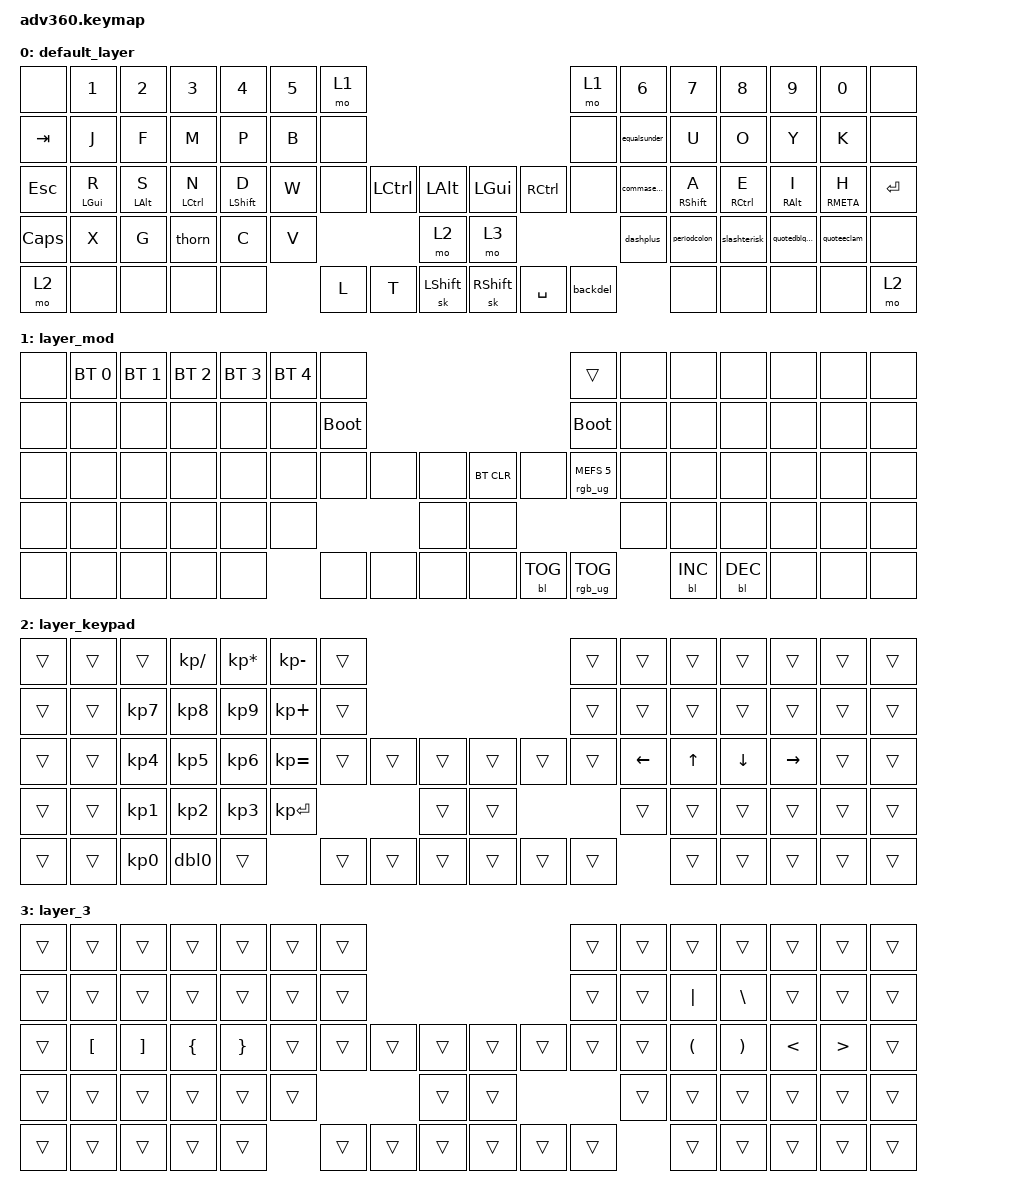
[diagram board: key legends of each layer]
/*
 * Copyright (c) 2020 The ZMK Contributors
 *
 * SPDX-License-Identifier: MIT
 */
/* THIS FILE WAS GENERATED!
 *
 * This file was generated automatically. You may or may not want to
 * edit it directly.
 */

#include <behaviors.dtsi>
#include <dt-bindings/zmk/backlight.h>
#include <dt-bindings/zmk/bt.h>
#include <dt-bindings/zmk/keys.h>
#include <dt-bindings/zmk/rgb.h>

/ {
    behaviors {
        #include "macros.dtsi"

        lhm: lhomerow_mods {
            compatible = "zmk,behavior-hold-tap";
            label = "LHOMEROW_MODS";
            #binding-cells = <2>;
            tapping-term-ms = <300>;
            flavor = "tap-preferred";
            bindings = <&kp>, <&kp>;

            hold-trigger-key-positions = <7 8 9 10 11 12 13 21 22 23 24 25 26 27 37 38 39 40 41 42 43 44 45 53 54 55 56 57 58 59 68 69 70 71 72 73 74 75>;
            retro-tap;
        };

        equalsunder: equalsunder {
            compatible = "zmk,behavior-mod-morph";
            label = "EQUALSUNDER";
            bindings = <&kp EQUAL>, <&kp UNDERSCORE>;

            #binding-cells = <0>;
            mods = <(MOD_LSFT|MOD_RSFT)>;
        };

        periodcolon: periodcolon {
            compatible = "zmk,behavior-mod-morph";
            label = "PERIODCOLON";
            bindings = <&kp PERIOD>, <&kp COLON>;

            #binding-cells = <0>;
            mods = <(MOD_LSFT|MOD_RSFT)>;
        };

        slashterisk: slashterisk {
            compatible = "zmk,behavior-mod-morph";
            label = "SLASHTERISK";
            bindings = <&kp SLASH>, <&kp ASTERISK>;

            #binding-cells = <0>;
            mods = <(MOD_LSFT|MOD_RSFT)>;
        };

        quotedblquest: quotedblquest {
            compatible = "zmk,behavior-mod-morph";
            label = "QUOTEDBLQUEST";
            bindings = <&kp DOUBLE_QUOTES>, <&kp QUESTION>;

            #binding-cells = <0>;
            mods = <(MOD_LSFT|MOD_RSFT)>;
        };

        quoteeclam: quoteeclam {
            compatible = "zmk,behavior-mod-morph";
            label = "QUOTEECLAM";
            bindings = <&kp SINGLE_QUOTE>, <&kp EXCLAMATION>;

            #binding-cells = <0>;
            mods = <(MOD_LSFT|MOD_RSFT)>;
        };

        commasemicolon: commasemicolon {
            compatible = "zmk,behavior-mod-morph";
            label = "COMMASEMICOLON";
            bindings = <&kp COMMA>, <&kp SEMICOLON>;

            #binding-cells = <0>;
            mods = <(MOD_LSFT|MOD_RSFT)>;
        };

        dashplus: dashplus {
            compatible = "zmk,behavior-mod-morph";
            label = "DASHPLUS";
            bindings = <&kp MINUS>, <&kp PLUS>;

            #binding-cells = <0>;
            mods = <(MOD_LSFT|MOD_RSFT)>;
        };

        backdel: backdel {
            compatible = "zmk,behavior-mod-morph";
            label = "BACKDEL";
            bindings = <&kp BACKSPACE>, <&kp DEL>;

            #binding-cells = <0>;
            mods = <(MOD_LSFT|MOD_RSFT)>;
            keep-mods = <(MOD_RCTL|MOD_LCTL)>;
        };

        rhm: rhomerow_mods {
            compatible = "zmk,behavior-hold-tap";
            label = "RHOMEROW_MODS";
            #binding-cells = <2>;
            tapping-term-ms = <300>;
            flavor = "tap-preferred";
            bindings = <&kp>, <&kp>;

            hold-trigger-key-positions = <0 1 2 3 4 5 6 14 15 16 17 18 19 20 28 29 30 31 32 33 34 35 36 46 47 48 49 50 51 52 60 61 62 63 64 65 66 67>;
            retro-tap;
        };
    };

    combos {
        compatible = "zmk,combos";

        q {
            bindings = <&kp Q>;
            key-positions = <25 26>;
        };

        chombo {
            bindings = <&chombo>;
            key-positions = <50 49>;
        };

        whombo {
            bindings = <&whombo>;
            key-positions = <51 49>;
        };

        shombo {
            bindings = <&shombo>;
            key-positions = <30 49>;
        };

        gombo {
            bindings = <&ghombo>;
            key-positions = <48 49>;
        };

        z {
            bindings = <&kp Z>;
            key-positions = <16 15>;
        };
    };

    macros {
        dbl0: dbl0 {
            compatible = "zmk,behavior-macro";
            label = "DBL0";
            #binding-cells = <0>;
            bindings = <&kp KP_NUMBER_0 &kp KP_NUMBER_0>;
        };

        thorn: thorn {
            compatible = "zmk,behavior-macro";
            #binding-cells = <0>;
            bindings = <&kp T &kp H>;
            label = "THORN";
        };

        chombo: chombo {
            compatible = "zmk,behavior-macro";
            #binding-cells = <0>;
            bindings = <&kp C &kp H>;
            label = "CHOMBO";
        };

        whombo: whombo {
            compatible = "zmk,behavior-macro";
            #binding-cells = <0>;
            bindings = <&kp W &kp H>;
            label = "WHOMBO";
        };

        shombo: shombo {
            compatible = "zmk,behavior-macro";
            #binding-cells = <0>;
            bindings = <&kp S &kp H>;
            label = "SHOMBO";
        };

        ghombo: ghombo {
            compatible = "zmk,behavior-macro";
            #binding-cells = <0>;
            bindings = <&kp G &kp H>;
            label = "GHOMBO";
        };
    };

    keymap {
        compatible = "zmk,keymap";

        default_layer {
            bindings = <
&none     &kp N1           &kp N2       &kp N3        &kp N4        &kp N5  &mo 1                                                  &mo 1     &kp N6           &kp N7              &kp N8        &kp N9            &kp N0        &none
&kp TAB   &kp J            &kp F        &kp M         &kp P         &kp B   &none                                                  &none     &equalsunder     &kp U               &kp O         &kp Y             &kp K         &none
&kp ESC   &lhm LEFT_GUI R  &lhm LALT S  &lhm LCTRL N  &lhm LSHFT D  &kp W   &none  &kp LCTRL  &kp LALT       &kp LGUI   &kp RCTRL  &none     &commasemicolon  &rhm RIGHT_SHIFT A  &rhm RCTRL E  &rhm RIGHT_ALT I  &rhm RMETA H  &kp ENTER
&kp CAPS  &kp X            &kp G        &thorn        &kp C         &kp V                     &mo 2          &mo 3                           &dashplus        &periodcolon        &slashterisk  &quotedblquest    &quoteeclam   &none
&mo 2     &none            &none        &none         &none                 &kp L  &kp T      &sk LSHFT      &sk RSHFT  &kp SPACE  &backdel                   &none               &none         &none             &none         &mo 2
            >;
        };

        layer_mod {
            bindings = <
&none  &bt BT_SEL 0  &bt BT_SEL 1  &bt BT_SEL 2  &bt BT_SEL 3  &bt BT_SEL 4  &none                                                  &trans                  &none  &none       &none       &none  &none  &none
&none  &none         &none         &none         &none         &none         &bootloader                                            &bootloader             &none  &none       &none       &none  &none  &none
&none  &none         &none         &none         &none         &none         &none        &none  &none      &bt BT_CLR  &none       &rgb_ug RGB_MEFS_CMD 5  &none  &none       &none       &none  &none  &none
&none  &none         &none         &none         &none         &none                             &none      &none                                           &none  &none       &none       &none  &none  &none
&none  &none         &none         &none         &none                       &none        &none  &none      &none       &bl BL_TOG  &rgb_ug RGB_TOG                &bl BL_INC  &bl BL_DEC  &none  &none  &none
            >;
        };

        layer_keypad {
            bindings = <
&trans  &trans  &trans           &kp KP_SLASH     &kp KP_MULTIPLY  &kp KP_MINUS  &trans                                      &trans  &trans          &trans        &trans          &trans           &trans  &trans
&trans  &trans  &kp KP_NUMBER_7  &kp KP_NUMBER_8  &kp KP_NUMBER_9  &kp KP_PLUS   &trans                                      &trans  &trans          &trans        &trans          &trans           &trans  &trans
&trans  &trans  &kp KP_NUMBER_4  &kp KP_NUMBER_5  &kp KP_NUMBER_6  &kp KP_EQUAL  &trans  &trans  &trans      &trans  &trans  &trans  &kp LEFT_ARROW  &kp UP_ARROW  &kp DOWN_ARROW  &kp RIGHT_ARROW  &trans  &trans
&trans  &trans  &kp KP_NUMBER_1  &kp KP_NUMBER_2  &kp KP_NUMBER_3  &kp KP_ENTER                  &trans      &trans                  &trans          &trans        &trans          &trans           &trans  &trans
&trans  &trans  &kp KP_NUMBER_0  &dbl0            &trans                         &trans  &trans  &trans      &trans  &trans  &trans                  &trans        &trans          &trans           &trans  &trans
            >;
        };

        layer_3 {
            bindings = <
&trans  &trans            &trans             &trans          &trans           &trans  &trans                                      &trans  &trans  &trans                &trans                 &trans         &trans            &trans
&trans  &trans            &trans             &trans          &trans           &trans  &trans                                      &trans  &trans  &kp PIPE              &kp BACKSLASH          &trans         &trans            &trans
&trans  &kp LEFT_BRACKET  &kp RIGHT_BRACKET  &kp LEFT_BRACE  &kp RIGHT_BRACE  &trans  &trans  &trans  &trans      &trans  &trans  &trans  &trans  &kp LEFT_PARENTHESIS  &kp RIGHT_PARENTHESIS  &kp LESS_THAN  &kp GREATER_THAN  &trans
&trans  &trans            &trans             &trans          &trans           &trans                  &trans      &trans                  &trans  &trans                &trans                 &trans         &trans            &trans
&trans  &trans            &trans             &trans          &trans                   &trans  &trans  &trans      &trans  &trans  &trans          &trans                &trans                 &trans         &trans            &trans
            >;
        };
    };
};
